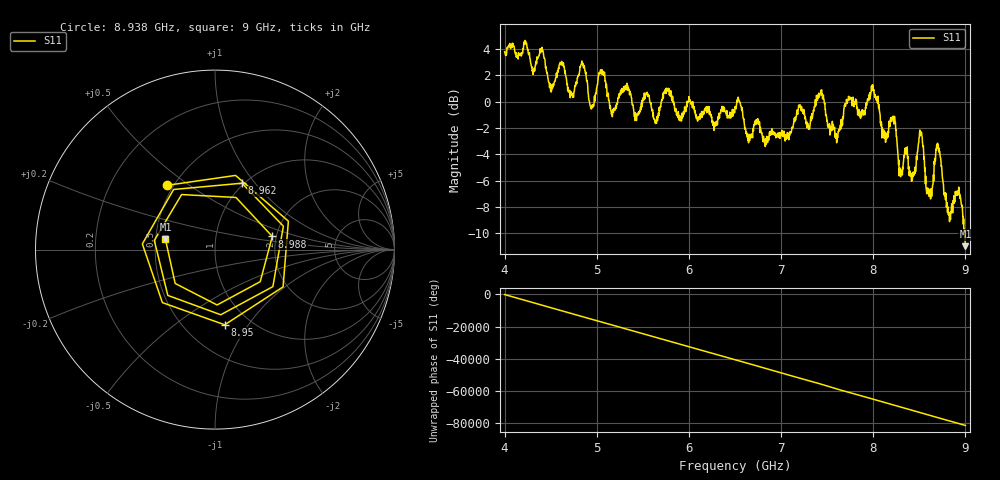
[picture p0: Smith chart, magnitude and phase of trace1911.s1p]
! Created with skrf 1.8.0 (http://scikit-rf.org).
# Hz S RI R 50.0
!freq ReS11 ImS11
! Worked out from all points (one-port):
!   1601 points, 4 GHz to 9 GHz, reference 50 ohm
!   lowest |S11| = -11.0 dB at 9 GHz (marker M1), VSWR 1.79, Z = 28.2 + j3.55 ohm
!   |S11| at or under -10 dB: 8.983775 GHz to 8.984901 GHz (1.126 MHz wide, 0.0125 % of centre); 8.989798 GHz to end of sweep
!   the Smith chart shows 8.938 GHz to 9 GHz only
!   S11 on the Smith chart (normalised r, x): 8.938 GHz: 0.46, +0.41; 8.95 GHz: 0.77, -0.78; 8.962 GHz: 0.98, +0.86; 8.988 GHz: 1.90, +0.31; 9 GHz: 0.56, +0.07
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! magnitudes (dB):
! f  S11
! 4 GHz  3.8
! 4.403 GHz  3.8
! 4.509 GHz  0.9
! 4.625 GHz  2.9
! 4.728 GHz  0.5
! 4.85 GHz  2.8
! 4.944 GHz  -0.5
! 5.05 GHz  2.4
! 5.162 GHz  -0.8
! 5.25 GHz  0.6
! 5.875 GHz  -0.9
! 6.5 GHz  -0.4
! 7.125 GHz  -2.0
! 7.434 GHz  0.9
! 7.609 GHz  -2.6
! 7.75 GHz  0.3
! 8 GHz  1.0
! 8.375 GHz  -4.2
! 8.438 GHz  -5.5
! 8.519 GHz  -2.4
! 8.612 GHz  -6.7
! 8.703 GHz  -3.2
! 8.819 GHz  -8.4
! 8.938 GHz  -7.0
! 8.95 GHz  -7.5
! 8.962 GHz  -8.0
! 8.988 GHz  -9.7
! 9 GHz  -11.0
